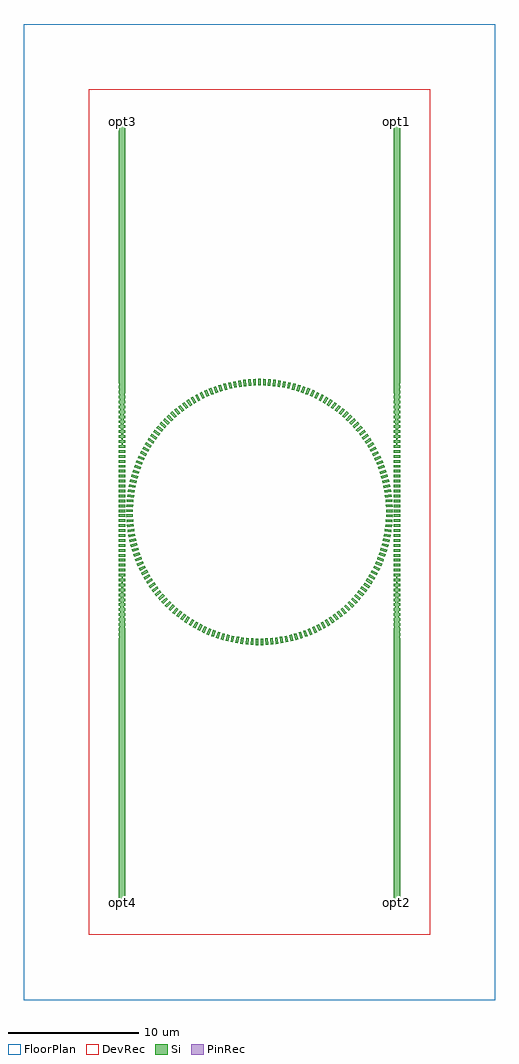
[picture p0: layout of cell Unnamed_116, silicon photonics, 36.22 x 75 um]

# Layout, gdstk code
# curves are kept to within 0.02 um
import gdstk
lib = gdstk.Library(unit=1e-6, precision=1e-09)
def R(c, l, rs):  # rectangles x0, y0, x1, y1
    for r in rs: c.add(gdstk.rectangle(r[:2], r[2:], *l))
def A(c, l, x, y, w, h, nx, ny, dx, dy):  # array of equal rectangles
    R(c, l, [(x+i*dx, y+j*dy, x+i*dx+w, y+j*dy+h) for i in range(nx) for j in range(ny)])
def P(c, l, *ps):  # polygons
    for p in ps: c.add(gdstk.Polygon(p, *l))
Si = (1, 0)
PinRec = (1, 10)
DevRec = (68, 0)
FloorPlan = (99, 0)

unnamed_116 = lib.new_cell('Unnamed_116')
A(unnamed_116, Si, -10.802, -4.56, 0.5, 0.19, 1, 25, 0, 0.38)
A(unnamed_116, Si, 10.302, -4.56, 0.5, 0.19, 1, 25, 0, 0.38)
P(unnamed_116, Si, [(-0.091,9.729),(-0.095,10.229),(0.099,10.229),(0.094,9.729)],
  [(9.729,0),(9.727,0.185),(10.227,0.195),(10.229,0)],
  [(9.722,0.37),(9.713,0.555),(10.212,0.584),(10.222,0.389)],
  [(9.701,0.74),(9.685,0.925),(10.183,0.972),(10.199,0.778)],
  [(9.666,1.109),(9.643,1.293),(10.138,1.359),(10.162,1.166)],
  [(9.616,1.476),(9.587,1.659),(10.079,1.744),(10.111,1.552)],
  [(9.553,1.841),(9.516,2.023),(10.006,2.126),(10.044,1.936)],
  [(9.476,2.203),(9.433,2.383),(9.917,2.506),(9.963,2.317)],
  [(9.385,2.562),(9.335,2.741),(9.815,2.882),(9.868,2.694)],
  [(9.281,2.918),(9.224,3.094),(9.698,3.253),(9.758,3.068)],
  [(9.163,3.269),(9.099,3.443),(9.567,3.62),(9.634,3.437)],
  [(9.032,3.615),(8.962,3.787),(9.422,3.981),(9.496,3.801)],
  [(8.888,3.957),(8.811,4.125),(9.264,4.337),(9.345,4.16)],
  [(8.731,4.292),(8.648,4.458),(9.092,4.687),(9.18,4.513)],
  [(8.561,4.621),(8.472,4.784),(8.907,5.029),(9.001,4.859)],
  [(8.379,4.944),(8.284,5.103),(8.709,5.365),(8.81,5.198)],
  [(8.185,5.259),(8.083,5.414),(8.499,5.692),(8.606,5.53)],
  [(7.979,5.567),(7.871,5.718),(8.276,6.012),(8.389,5.853)],
  [(7.761,5.867),(7.648,6.013),(8.041,6.323),(8.16,6.168)],
  [(7.532,6.158),(7.414,6.3),(7.795,6.624),(7.919,6.474)],
  [(7.292,6.44),(7.168,6.578),(7.537,6.916),(7.667,6.771)],
  [(7.042,6.713),(6.913,6.846),(7.268,7.198),(7.404,7.058)],
  [(6.781,6.976),(6.647,7.104),(6.989,7.469),(7.13,7.335)],
  [(6.511,7.229),(6.372,7.352),(6.699,7.73),(6.845,7.601)],
  [(6.231,7.472),(6.087,7.589),(6.4,7.979),(6.551,7.856)],
  [(5.942,7.704),(5.794,7.815),(6.092,8.217),(6.247,8.1)],
  [(5.644,7.924),(5.492,8.03),(5.775,8.443),(5.934,8.332)],
  [(5.339,8.133),(5.183,8.234),(5.449,8.657),(5.613,8.551)],
  [(5.025,8.331),(4.866,8.425),(5.116,8.858),(5.283,8.759)],
  [(4.704,8.516),(4.541,8.604),(4.775,9.046),(4.946,8.954)],
  [(4.377,8.689),(4.211,8.771),(4.427,9.221),(4.602,9.136)],
  [(4.043,8.849),(3.874,8.925),(4.073,9.383),(4.251,9.304)],
  [(3.703,8.997),(3.531,9.066),(3.713,9.532),(3.893,9.459)],
  [(3.358,9.131),(3.183,9.193),(3.347,9.666),(3.53,9.6)],
  [(3.008,9.252),(2.831,9.308),(2.977,9.786),(3.162,9.728)],
  [(2.653,9.36),(2.475,9.409),(2.602,9.893),(2.79,9.841)],
  [(2.295,9.454),(2.115,9.496),(2.224,9.984),(2.413,9.94)],
  [(1.934,9.535),(1.752,9.57),(1.842,10.062),(2.033,10.025)],
  [(1.569,9.602),(1.386,9.63),(1.457,10.125),(1.65,10.095)],
  [(1.203,9.654),(1.019,9.676),(1.071,10.173),(1.264,10.151)],
  [(0.834,9.693),(0.65,9.707),(0.683,10.206),(0.877,10.191)],
  [(0.465,9.718),(0.28,9.725),(0.294,10.225),(0.489,10.217)],
  [(10.302,4.94),(10.302,5.13),(10.519,5.13),(10.511,5.32),(10.302,5.32),(10.302,5.51),(10.503,5.51),(10.494,5.7),(10.302,5.7),(10.302,5.89),(10.486,5.89),(10.478,6.08),(10.302,6.08),(10.302,6.27),(10.469,6.27),(10.461,6.46),(10.302,6.46),(10.302,6.65),(10.452,6.65),(10.444,6.84),(10.302,6.84),(10.302,7.03),(10.436,7.03),(10.427,7.22),(10.302,7.22),(10.302,7.41),(10.419,7.41),(10.411,7.6),(10.302,7.6),(10.302,7.79),(10.402,7.79),(10.394,7.98),(10.302,7.98),(10.302,8.17),(10.386,8.17),(10.377,8.36),(10.302,8.36),(10.302,8.55),(10.369,8.55),(10.361,8.74),(10.302,8.74),(10.302,8.93),(10.352,8.93),(10.344,9.12),(10.302,9.12),(10.302,9.31),(10.335,9.31),(10.327,9.5),(10.302,9.5),(10.302,30),(10.802,30),(10.802,9.5),(10.777,9.5),(10.769,9.31),(10.802,9.31),(10.802,9.12),(10.76,9.12),(10.752,8.93),(10.802,8.93),(10.802,8.74),(10.743,8.74),(10.735,8.55),(10.802,8.55),(10.802,8.36),(10.727,8.36),(10.718,8.17),(10.802,8.17),(10.802,7.98),(10.71,7.98),(10.702,7.79),(10.802,7.79),(10.802,7.6),(10.693,7.6),(10.685,7.41),(10.802,7.41),(10.802,7.22),(10.677,7.22),(10.668,7.03),(10.802,7.03),(10.802,6.84),(10.66,6.84),(10.652,6.65),(10.802,6.65),(10.802,6.46),(10.643,6.46),(10.635,6.27),(10.802,6.27),(10.802,6.08),(10.626,6.08),(10.618,5.89),(10.802,5.89),(10.802,5.7),(10.61,5.7),(10.601,5.51),(10.802,5.51),(10.802,5.32),(10.593,5.32),(10.585,5.13),(10.802,5.13),(10.802,4.94)],
  [(-8.183,5.262),(-8.603,5.533),(-8.497,5.696),(-8.081,5.417)],
  [(-9.722,0.374),(-10.221,0.393),(-10.212,0.588),(-9.713,0.559)],
  [(-7.977,5.57),(-8.387,5.856),(-8.274,6.015),(-7.869,5.721)],
  [(-9.665,1.113),(-10.162,1.17),(-10.138,1.363),(-9.642,1.296)],
  [(-7.759,5.87),(-8.158,6.171),(-8.039,6.326),(-7.646,6.016)],
  [(-9.385,2.566),(-9.867,2.698),(-9.814,2.885),(-9.334,2.744)],
  [(-7.53,6.161),(-7.917,6.477),(-7.792,6.627),(-7.411,6.303)],
  [(-7.29,6.443),(-7.664,6.774),(-7.534,6.919),(-7.166,6.581)],
  [(-7.039,6.716),(-7.401,7.061),(-7.265,7.201),(-6.91,6.849)],
  [(-6.779,6.979),(-7.127,7.338),(-6.986,7.472),(-6.644,7.107)],
  [(-9.28,2.921),(-9.757,3.072),(-9.697,3.257),(-9.223,3.098)],
  [(-6.508,7.232),(-6.842,7.604),(-6.696,7.732),(-6.369,7.354)],
  [(-6.228,7.474),(-6.548,7.858),(-6.397,7.982),(-6.085,7.592)],
  [(-5.939,7.706),(-6.244,8.102),(-6.089,8.219),(-5.791,7.818)],
  [(-9.616,1.48),(-10.11,1.556),(-10.079,1.748),(-9.586,1.662)],
  [(-5.641,7.927),(-5.931,8.334),(-5.771,8.445),(-5.489,8.032)],
  [(-9.162,3.273),(-9.633,3.441),(-9.566,3.623),(-9.098,3.446)],
  [(-5.335,8.136),(-5.61,8.554),(-5.446,8.659),(-5.18,8.236)],
  [(-5.022,8.333),(-5.28,8.761),(-5.112,8.86),(-4.862,8.427)],
  [(-9.031,3.619),(-9.495,3.805),(-9.421,3.985),(-8.96,3.79)],
  [(-4.701,8.518),(-4.943,8.956),(-4.771,9.048),(-4.538,8.606)],
  [(-4.373,8.691),(-4.598,9.137),(-4.423,9.223),(-4.207,8.772)],
  [(-4.039,8.851),(-4.247,9.306),(-4.069,9.385),(-3.87,8.926)],
  [(-9.701,0.744),(-10.199,0.782),(-10.182,0.976),(-9.685,0.928)],
  [(-3.7,8.998),(-3.89,9.461),(-3.709,9.533),(-3.528,9.067)],
  [(-8.887,3.96),(-9.343,4.164),(-9.262,4.341),(-8.81,4.129)],
  [(-3.354,9.132),(-3.527,9.602),(-3.343,9.667),(-3.18,9.195)],
  [(-3.004,9.254),(-3.159,9.729),(-2.973,9.787),(-2.828,9.309)],
  [(-9.553,1.845),(-10.043,1.939),(-10.005,2.13),(-9.516,2.026)],
  [(-2.65,9.361),(-2.786,9.842),(-2.598,9.894),(-2.471,9.41)],
  [(-2.292,9.455),(-2.409,9.941),(-2.22,9.985),(-2.111,9.497)],
  [(-8.729,4.295),(-9.178,4.516),(-9.09,4.69),(-8.646,4.461)],
  [(-1.93,9.536),(-2.029,10.026),(-1.838,10.063),(-1.748,9.571)],
  [(-1.566,9.602),(-1.646,10.096),(-1.454,10.125),(-1.383,9.63)],
  [(-1.199,9.655),(-1.261,10.151),(-1.067,10.173),(-1.015,9.676)],
  [(-0.831,9.693),(-0.873,10.192),(-0.679,10.206),(-0.646,9.708)],
  [(-10.229,0.004),(-10.227,0.199),(-9.727,0.189),(-9.729,0.004)],
  [(-0.461,9.718),(-0.485,10.218),(-0.29,10.225),(-0.276,9.725)],
  [(-8.56,4.625),(-8.999,4.862),(-8.905,5.033),(-8.47,4.787)],
  [(-9.475,2.207),(-9.962,2.32),(-9.916,2.51),(-9.432,2.387)],
  [(-10.802,4.94),(-10.802,5.13),(-10.585,5.13),(-10.593,5.32),(-10.802,5.32),(-10.802,5.51),(-10.601,5.51),(-10.61,5.7),(-10.802,5.7),(-10.802,5.89),(-10.618,5.89),(-10.626,6.08),(-10.802,6.08),(-10.802,6.27),(-10.635,6.27),(-10.643,6.46),(-10.802,6.46),(-10.802,6.65),(-10.652,6.65),(-10.66,6.84),(-10.802,6.84),(-10.802,7.03),(-10.668,7.03),(-10.677,7.22),(-10.802,7.22),(-10.802,7.41),(-10.685,7.41),(-10.693,7.6),(-10.802,7.6),(-10.802,7.79),(-10.702,7.79),(-10.71,7.98),(-10.802,7.98),(-10.802,8.17),(-10.718,8.17),(-10.727,8.36),(-10.802,8.36),(-10.802,8.55),(-10.735,8.55),(-10.743,8.74),(-10.802,8.74),(-10.802,8.93),(-10.752,8.93),(-10.76,9.12),(-10.802,9.12),(-10.802,9.31),(-10.769,9.31),(-10.777,9.5),(-10.802,9.5),(-10.802,30),(-10.302,30),(-10.302,9.5),(-10.327,9.5),(-10.335,9.31),(-10.302,9.31),(-10.302,9.12),(-10.344,9.12),(-10.352,8.93),(-10.302,8.93),(-10.302,8.74),(-10.361,8.74),(-10.369,8.55),(-10.302,8.55),(-10.302,8.36),(-10.377,8.36),(-10.386,8.17),(-10.302,8.17),(-10.302,7.98),(-10.394,7.98),(-10.402,7.79),(-10.302,7.79),(-10.302,7.6),(-10.411,7.6),(-10.419,7.41),(-10.302,7.41),(-10.302,7.22),(-10.427,7.22),(-10.436,7.03),(-10.302,7.03),(-10.302,6.84),(-10.444,6.84),(-10.452,6.65),(-10.302,6.65),(-10.302,6.46),(-10.461,6.46),(-10.469,6.27),(-10.302,6.27),(-10.302,6.08),(-10.478,6.08),(-10.486,5.89),(-10.302,5.89),(-10.302,5.7),(-10.494,5.7),(-10.503,5.51),(-10.302,5.51),(-10.302,5.32),(-10.511,5.32),(-10.519,5.13),(-10.302,5.13),(-10.302,4.94)],
  [(-8.377,4.947),(-8.808,5.201),(-8.707,5.368),(-8.282,5.106)],
  [(-1.268,-10.15),(-1.461,-10.124),(-1.39,-9.629),(-1.206,-9.654)],
  [(-1.654,-10.094),(-1.846,-10.061),(-1.755,-9.569),(-1.573,-9.601)],
  [(-2.037,-10.024),(-2.227,-9.984),(-2.118,-9.496),(-1.937,-9.534)],
  [(-2.417,-9.939),(-2.606,-9.892),(-2.478,-9.408),(-2.299,-9.454)],
  [(-2.794,-9.84),(-2.98,-9.785),(-2.835,-9.307),(-2.657,-9.359)],
  [(-3.166,-9.727),(-3.351,-9.665),(-3.187,-9.192),(-3.011,-9.251)],
  [(-3.534,-9.599),(-3.716,-9.53),(-3.535,-9.064),(-3.361,-9.13)],
  [(-3.897,-9.458),(-4.076,-9.382),(-3.877,-8.923),(-3.706,-8.995)],
  [(-4.254,-9.302),(-4.43,-9.22),(-4.214,-8.769),(-4.046,-8.848)],
  [(-4.605,-9.134),(-4.778,-9.044),(-4.545,-8.602),(-4.38,-8.687)],
  [(-4.949,-8.952),(-5.119,-8.856),(-4.869,-8.423),(-4.708,-8.514)],
  [(-5.287,-8.757),(-5.452,-8.655),(-5.186,-8.232),(-5.028,-8.329)],
  [(-5.616,-8.549),(-5.778,-8.441),(-5.495,-8.028),(-5.342,-8.131)],
  [(-5.938,-8.329),(-6.095,-8.215),(-5.797,-7.813),(-5.647,-7.922)],
  [(-6.25,-8.097),(-6.403,-7.977),(-6.09,-7.587),(-5.945,-7.702)],
  [(-6.554,-7.854),(-6.702,-7.727),(-6.375,-7.35),(-6.234,-7.47)],
  [(-6.848,-7.598),(-6.992,-7.467),(-6.65,-7.102),(-6.513,-7.227)],
  [(-7.132,-7.332),(-7.271,-7.195),(-6.915,-6.843),(-6.784,-6.974)],
  [(-7.406,-7.055),(-7.539,-6.913),(-7.171,-6.575),(-7.044,-6.71)],
  [(-7.67,-6.768),(-7.797,-6.621),(-7.416,-6.297),(-7.295,-6.437)],
  [(-7.922,-6.471),(-8.043,-6.319),(-7.65,-6.011),(-7.534,-6.155)],
  [(-8.162,-6.165),(-8.278,-6.009),(-7.874,-5.715),(-7.763,-5.864)],
  [(-8.391,-5.85),(-8.501,-5.689),(-8.085,-5.411),(-7.981,-5.564)],
  [(-8.608,-5.526),(-8.711,-5.362),(-8.286,-5.099),(-8.187,-5.256)],
  [(-8.812,-5.195),(-8.909,-5.026),(-8.474,-4.78),(-8.381,-4.941)],
  [(-10.802,-30),(-10.802,-9.31),(-10.777,-9.31),(-10.769,-9.12),(-10.802,-9.12),(-10.802,-8.93),(-10.76,-8.93),(-10.752,-8.74),(-10.802,-8.74),(-10.802,-8.55),(-10.743,-8.55),(-10.735,-8.36),(-10.802,-8.36),(-10.802,-8.17),(-10.727,-8.17),(-10.718,-7.98),(-10.802,-7.98),(-10.802,-7.79),(-10.71,-7.79),(-10.702,-7.6),(-10.802,-7.6),(-10.802,-7.41),(-10.693,-7.41),(-10.685,-7.22),(-10.802,-7.22),(-10.802,-7.03),(-10.677,-7.03),(-10.668,-6.84),(-10.802,-6.84),(-10.802,-6.65),(-10.66,-6.65),(-10.652,-6.46),(-10.802,-6.46),(-10.802,-6.27),(-10.643,-6.27),(-10.635,-6.08),(-10.802,-6.08),(-10.802,-5.89),(-10.626,-5.89),(-10.618,-5.7),(-10.802,-5.7),(-10.802,-5.51),(-10.61,-5.51),(-10.601,-5.32),(-10.802,-5.32),(-10.802,-5.13),(-10.593,-5.13),(-10.585,-4.94),(-10.802,-4.94),(-10.802,-4.75),(-10.302,-4.75),(-10.302,-4.94),(-10.519,-4.94),(-10.511,-5.13),(-10.302,-5.13),(-10.302,-5.32),(-10.503,-5.32),(-10.494,-5.51),(-10.302,-5.51),(-10.302,-5.7),(-10.486,-5.7),(-10.478,-5.89),(-10.302,-5.89),(-10.302,-6.08),(-10.469,-6.08),(-10.461,-6.27),(-10.302,-6.27),(-10.302,-6.46),(-10.452,-6.46),(-10.444,-6.65),(-10.302,-6.65),(-10.302,-6.84),(-10.436,-6.84),(-10.427,-7.03),(-10.302,-7.03),(-10.302,-7.22),(-10.419,-7.22),(-10.411,-7.41),(-10.302,-7.41),(-10.302,-7.6),(-10.402,-7.6),(-10.394,-7.79),(-10.302,-7.79),(-10.302,-7.98),(-10.386,-7.98),(-10.377,-8.17),(-10.302,-8.17),(-10.302,-8.36),(-10.369,-8.36),(-10.361,-8.55),(-10.302,-8.55),(-10.302,-8.74),(-10.352,-8.74),(-10.344,-8.93),(-10.302,-8.93),(-10.302,-9.12),(-10.335,-9.12),(-10.327,-9.31),(-10.302,-9.31),(-10.302,-30)],
  [(-9.003,-4.856),(-9.094,-4.683),(-8.649,-4.454),(-8.563,-4.618)],
  [(-9.181,-4.509),(-9.266,-4.334),(-8.813,-4.122),(-8.733,-4.289)],
  [(-9.346,-4.156),(-9.424,-3.978),(-8.963,-3.783),(-8.89,-3.953)],
  [(-9.498,-3.798),(-9.568,-3.616),(-9.101,-3.439),(-9.034,-3.612)],
  [(-9.636,-3.433),(-9.699,-3.249),(-9.225,-3.091),(-9.165,-3.266)],
  [(-9.759,-3.064),(-9.816,-2.878),(-9.336,-2.737),(-9.282,-2.914)],
  [(-9.869,-2.69),(-9.918,-2.502),(-9.433,-2.38),(-9.386,-2.559)],
  [(-9.964,-2.313),(-10.006,-2.123),(-9.517,-2.019),(-9.477,-2.2)],
  [(-10.045,-1.932),(-10.08,-1.74),(-9.587,-1.655),(-9.554,-1.837)],
  [(-10.111,-1.548),(-10.139,-1.355),(-9.643,-1.289),(-9.617,-1.472)],
  [(-10.163,-1.162),(-10.183,-0.968),(-9.685,-0.921),(-9.666,-1.105)],
  [(-10.2,-0.774),(-10.213,-0.58),(-9.713,-0.552),(-9.701,-0.736)],
  [(-10.222,-0.385),(-10.227,-0.191),(-9.727,-0.182),(-9.722,-0.367)],
  [(-0.103,-10.228),(-0.298,-10.225),(-0.283,-9.725),(-0.098,-9.729)],
  [(-0.492,-10.217),(-0.687,-10.206),(-0.653,-9.707),(-0.468,-9.718)],
  [(-0.881,-10.191),(-1.075,-10.172),(-1.022,-9.675),(-0.838,-9.693)],
  [(10.302,-30),(10.302,-9.31),(10.327,-9.31),(10.335,-9.12),(10.302,-9.12),(10.302,-8.93),(10.344,-8.93),(10.352,-8.74),(10.302,-8.74),(10.302,-8.55),(10.361,-8.55),(10.369,-8.36),(10.302,-8.36),(10.302,-8.17),(10.377,-8.17),(10.386,-7.98),(10.302,-7.98),(10.302,-7.79),(10.394,-7.79),(10.402,-7.6),(10.302,-7.6),(10.302,-7.41),(10.411,-7.41),(10.419,-7.22),(10.302,-7.22),(10.302,-7.03),(10.427,-7.03),(10.436,-6.84),(10.302,-6.84),(10.302,-6.65),(10.444,-6.65),(10.452,-6.46),(10.302,-6.46),(10.302,-6.27),(10.461,-6.27),(10.469,-6.08),(10.302,-6.08),(10.302,-5.89),(10.478,-5.89),(10.486,-5.7),(10.302,-5.7),(10.302,-5.51),(10.494,-5.51),(10.503,-5.32),(10.302,-5.32),(10.302,-5.13),(10.511,-5.13),(10.519,-4.94),(10.302,-4.94),(10.302,-4.75),(10.802,-4.75),(10.802,-4.94),(10.585,-4.94),(10.593,-5.13),(10.802,-5.13),(10.802,-5.32),(10.601,-5.32),(10.61,-5.51),(10.802,-5.51),(10.802,-5.7),(10.618,-5.7),(10.626,-5.89),(10.802,-5.89),(10.802,-6.08),(10.635,-6.08),(10.643,-6.27),(10.802,-6.27),(10.802,-6.46),(10.652,-6.46),(10.66,-6.65),(10.802,-6.65),(10.802,-6.84),(10.668,-6.84),(10.677,-7.03),(10.802,-7.03),(10.802,-7.22),(10.685,-7.22),(10.693,-7.41),(10.802,-7.41),(10.802,-7.6),(10.702,-7.6),(10.71,-7.79),(10.802,-7.79),(10.802,-7.98),(10.718,-7.98),(10.727,-8.17),(10.802,-8.17),(10.802,-8.36),(10.735,-8.36),(10.743,-8.55),(10.802,-8.55),(10.802,-8.74),(10.752,-8.74),(10.76,-8.93),(10.802,-8.93),(10.802,-9.12),(10.769,-9.12),(10.777,-9.31),(10.802,-9.31),(10.802,-30)],
  [(8.998,-4.866),(8.558,-4.628),(8.644,-4.464),(9.089,-4.694)],
  [(2.782,-9.843),(2.646,-9.362),(2.824,-9.31),(2.969,-9.789)],
  [(5.606,-8.556),(5.332,-8.138),(5.486,-8.035),(5.768,-8.447)],
  [(9.176,-4.52),(8.728,-4.299),(8.808,-4.132),(9.261,-4.344)],
  [(0.092,-10.229),(0.087,-9.729),(0.272,-9.725),(0.286,-10.225)],
  [(5.928,-8.336),(5.638,-7.929),(5.788,-7.82),(6.086,-8.222)],
  [(9.342,-4.167),(8.885,-3.963),(8.959,-3.794),(9.419,-3.989)],
  [(3.155,-9.73),(3.001,-9.255),(3.176,-9.196),(3.34,-9.668)],
  [(6.241,-8.104),(5.936,-7.708),(6.082,-7.594),(6.394,-7.984)],
  [(9.494,-3.809),(9.03,-3.622),(9.097,-3.45),(9.564,-3.627)],
  [(1.642,-10.096),(1.562,-9.603),(1.745,-9.571),(1.834,-10.063)],
  [(6.545,-7.861),(6.225,-7.477),(6.366,-7.357),(6.694,-7.735)],
  [(9.632,-3.444),(9.161,-3.276),(9.222,-3.101),(9.695,-3.26)],
  [(3.523,-9.603),(3.351,-9.134),(3.524,-9.068),(3.705,-9.534)],
  [(6.84,-7.606),(6.505,-7.234),(6.642,-7.109),(6.983,-7.475)],
  [(9.756,-3.075),(9.279,-2.925),(9.333,-2.748),(9.813,-2.889)],
  [(0.869,-10.192),(0.827,-9.694),(1.011,-9.676),(1.063,-10.174)],
  [(7.124,-7.34),(6.776,-6.981),(6.908,-6.851),(7.263,-7.203)],
  [(9.866,-2.702),(9.384,-2.57),(9.431,-2.39),(9.915,-2.513)],
  [(3.886,-9.462),(3.696,-9),(3.867,-8.928),(4.066,-9.386)],
  [(7.398,-7.064),(7.037,-6.718),(7.163,-6.583),(7.532,-6.922)],
  [(9.961,-2.324),(9.475,-2.211),(9.515,-2.03),(10.004,-2.134)],
  [(2.025,-10.026),(1.926,-9.536),(2.108,-9.498),(2.216,-9.986)],
  [(7.662,-6.777),(7.287,-6.446),(7.409,-6.306),(7.79,-6.63)],
  [(10.043,-1.943),(9.552,-1.848),(9.585,-1.666),(10.078,-1.752)],
  [(4.244,-9.307),(4.036,-8.852),(4.204,-8.774),(4.42,-9.225)],
  [(7.914,-6.48),(7.527,-6.164),(7.643,-6.019),(8.036,-6.329)],
  [(10.109,-1.56),(9.615,-1.483),(9.642,-1.3),(10.137,-1.367)],
  [(0.481,-10.218),(0.457,-9.718),(0.642,-9.708),(0.675,-10.207)],
  [(8.155,-6.174),(7.757,-5.873),(7.867,-5.724),(8.271,-6.018)],
  [(10.161,-1.174),(9.665,-1.116),(9.684,-0.932),(10.182,-0.98)],
  [(4.595,-9.139),(4.37,-8.692),(4.535,-8.608),(4.768,-9.05)],
  [(8.384,-5.86),(7.975,-5.573),(8.079,-5.42),(8.494,-5.699)],
  [(10.199,-0.786),(9.7,-0.748),(9.713,-0.563),(10.212,-0.592)],
  [(2.406,-9.942),(2.288,-9.456),(2.468,-9.411),(2.594,-9.895)],
  [(10.221,-0.397),(9.722,-0.378),(9.727,-0.193),(10.227,-0.202)],
  [(8.601,-5.536),(8.181,-5.266),(8.28,-5.109),(8.705,-5.371)],
  [(4.939,-8.957),(4.698,-8.52),(4.859,-8.429),(5.109,-8.862)],
  [(8.806,-5.205),(8.375,-4.95),(8.468,-4.79),(8.903,-5.036)],
  [(1.257,-10.152),(1.195,-9.655),(1.379,-9.631),(1.45,-10.126)],
  [(5.277,-8.763),(5.019,-8.335),(5.177,-8.238),(5.443,-8.661)])
R(unnamed_116, PinRec, [(-10.802,-30,-10.302,-29.9), (10.302,-30,10.802,-29.9), (-10.802,29.9,-10.302,30), (10.302,29.9,10.802,30)])
R(unnamed_116, DevRec, [(-13.111,-32.5,13.111,32.5)])
R(unnamed_116, FloorPlan, [(-18.111,-37.5,18.111,37.5)])
unnamed_116.add(gdstk.Label('opt1', (10.552,30), layer=10, texttype=0))
unnamed_116.add(gdstk.Label('opt2', (10.552,-30), layer=10, texttype=0))
unnamed_116.add(gdstk.Label('opt3', (-10.552,30), layer=10, texttype=0))
unnamed_116.add(gdstk.Label('opt4', (-10.552,-30), layer=10, texttype=0))

lib.write_gds('Unnamed_116.gds')
